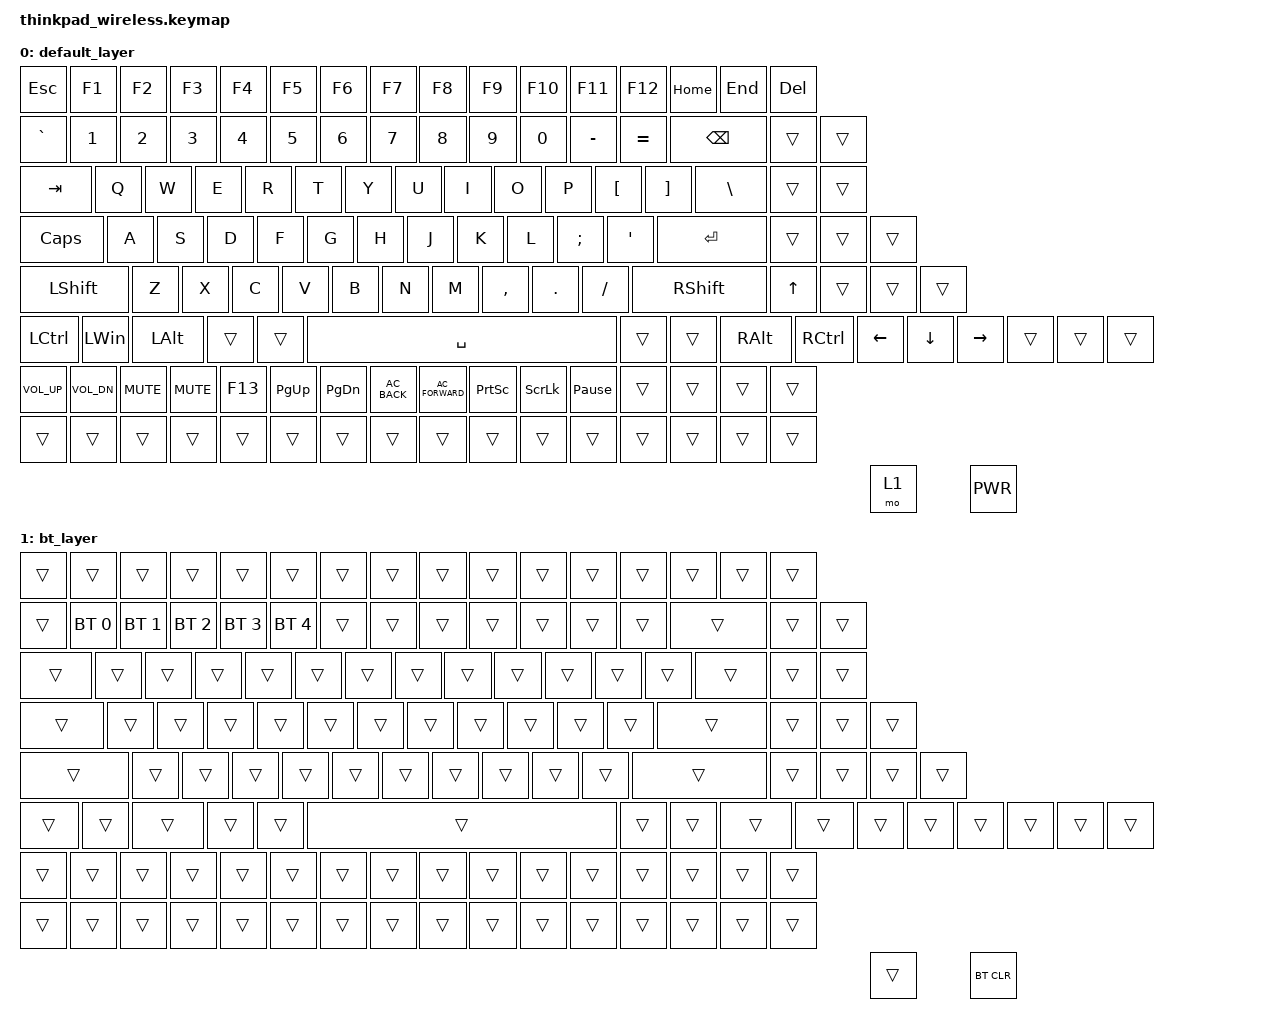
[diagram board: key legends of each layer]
/*
 * Copyright (c) 2024 The ZMK Contributors
 * SPDX-License-Identifier: MIT
 */

#include <behaviors.dtsi>
#include <dt-bindings/zmk/keys.h>
#include <dt-bindings/zmk/bt.h>

/ {
    keymap {
        compatible = "zmk,keymap";

        default_layer {
            bindings = <
                &kp ESC    &kp F1     &kp F2     &kp F3     &kp F4     &kp F5     &kp F6     &kp F7     &kp F8     &kp F9     &kp F10    &kp F11    &kp F12    &kp HOME   &kp END    &kp DEL
                &kp GRAVE  &kp N1     &kp N2     &kp N3     &kp N4     &kp N5     &kp N6     &kp N7     &kp N8     &kp N9     &kp N0     &kp MINUS  &kp EQUAL  &kp BSPC   &trans     &trans
                &kp TAB    &kp Q      &kp W      &kp E      &kp R      &kp T      &kp Y      &kp U      &kp I      &kp O      &kp P      &kp LBKT   &kp RBKT   &kp BSLH   &trans     &trans
                &kp CAPS   &kp A      &kp S      &kp D      &kp F      &kp G      &kp H      &kp J      &kp K      &kp L      &kp SEMI   &kp SQT    &kp RET    &trans     &trans     &trans
                &kp LSHFT  &kp Z      &kp X      &kp C      &kp V      &kp B      &kp N      &kp M      &kp COMMA  &kp DOT    &kp FSLH   &kp RSHFT  &kp UP     &trans     &trans     &trans
                &kp LCTRL  &kp LWIN   &kp LALT   &trans     &trans     &kp SPACE  &trans     &trans     &kp RALT   &kp RCTRL  &kp LEFT   &kp DOWN   &kp RIGHT  &trans     &trans     &trans
                &kp C_VOL_UP &kp C_VOL_DN &kp C_MUTE &kp C_MUTE &kp F13 &kp PG_UP &kp PG_DN  &kp C_AC_BACK &kp C_AC_FORWARD &kp PSCRN &kp SLCK &kp PAUSE_BREAK &trans &trans &trans &trans
                &trans     &trans     &trans     &trans     &trans     &trans     &trans     &trans     &trans     &trans     &trans     &trans     &trans     &trans     &trans     &trans
                &mo 1      &kp C_PWR  /* Row 8: HOTKEY(mo 1), PWRSWITCH(C_PWR) */
            >;
        };

        bt_layer {
            bindings = <
                &trans     &trans     &trans     &trans     &trans     &trans     &trans     &trans     &trans     &trans     &trans     &trans     &trans     &trans     &trans     &trans
                &trans     &bt BT_SEL 0 &bt BT_SEL 1 &bt BT_SEL 2 &bt BT_SEL 3 &bt BT_SEL 4 &trans     &trans     &trans     &trans     &trans     &trans     &trans     &trans     &trans     &trans
                &trans     &trans     &trans     &trans     &trans     &trans     &trans     &trans     &trans     &trans     &trans     &trans     &trans     &trans     &trans     &trans
                &trans     &trans     &trans     &trans     &trans     &trans     &trans     &trans     &trans     &trans     &trans     &trans     &trans     &trans     &trans     &trans
                &trans     &trans     &trans     &trans     &trans     &trans     &trans     &trans     &trans     &trans     &trans     &trans     &trans     &trans     &trans     &trans
                &trans     &trans     &trans     &trans     &trans     &trans     &trans     &trans     &trans     &trans     &trans     &trans     &trans     &trans     &trans     &trans
                &trans     &trans     &trans     &trans     &trans     &trans     &trans     &trans     &trans     &trans     &trans     &trans     &trans     &trans     &trans     &trans
                &trans     &trans     &trans     &trans     &trans     &trans     &trans     &trans     &trans     &trans     &trans     &trans     &trans     &trans     &trans     &trans
                &trans     &bt BT_CLR /* Row 8: HOTKEY(mo 1), PWRSWITCH(bt BT_CLR) */
            >;
        };
    };
};
